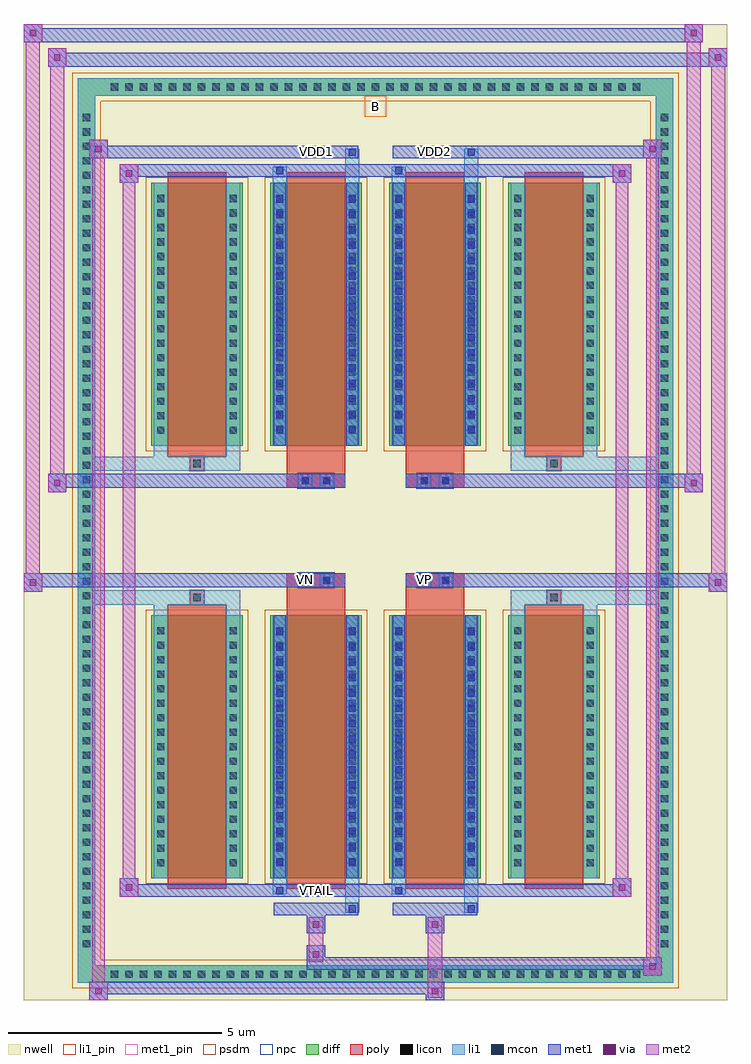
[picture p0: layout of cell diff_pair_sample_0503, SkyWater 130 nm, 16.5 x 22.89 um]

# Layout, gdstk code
import gdstk
lib = gdstk.Library(unit=1e-6, precision=5e-09)
def R(c, l, rs):  # rectangles x0, y0, x1, y1
    for r in rs: c.add(gdstk.rectangle(r[:2], r[2:], *l))
def A(c, l, x, y, w, h, nx, ny, dx, dy):  # array of equal rectangles
    R(c, l, [(x+i*dx, y+j*dy, x+i*dx+w, y+j*dy+h) for i in range(nx) for j in range(ny)])
def P(c, l, *ps):  # polygons
    for p in ps: c.add(gdstk.Polygon(p, *l))
nwell = (64, 20)
diff = (65, 20)
poly = (66, 20)
licon = (66, 44)
li1_pin = (67, 16)
li1 = (67, 20)
mcon = (67, 44)
met1_pin = (68, 16)
met1 = (68, 20)
via = (68, 44)
met2 = (69, 20)
psdm = (94, 20)
npc = (95, 20)

diff_pair_sample_0503 = lib.new_cell('diff_pair_sample_0503')
R(diff_pair_sample_0503, nwell, [(-8.25,-11.01,8.25,11.88), (-5.57,-9.2,-0.01,-0.8), (0.01,-9.2,5.57,-0.8), (-5.57,0.8,-0.01,9.2), (0.01,0.8,5.57,9.2)])
A(diff_pair_sample_0503, diff, -6.325, -10.61, 0.41, 0.41, 37, 2, 0.34, 20.81)
A(diff_pair_sample_0503, diff, -6.98, -9.895, 0.41, 0.41, 1, 58, 0, 0.34)
A(diff_pair_sample_0503, diff, 6.57, -9.895, 0.41, 0.41, 1, 58, 0, 0.34)
A(diff_pair_sample_0503, diff, -5.26, -8.155, 2.15, 6.17, 4, 2, 2.79, 10.14)
R(diff_pair_sample_0503, diff, [(-6.325,-10.61,6.325,-10.2), (-6.98,-9.895,-6.57,9.895), (6.57,-9.895,6.98,9.895), (-6.325,10.2,6.325,10.61)])
P(diff_pair_sample_0503, diff, [(6.98,10.61),(-6.98,10.61),(-6.98,-10.2),(-6.57,-10.2),(-6.57,10.2),(6.57,10.2),(6.57,-10.2),(-6.57,-10.2),(-6.98,-10.2),(-6.98,-10.61),(6.98,-10.61)])
A(diff_pair_sample_0503, poly, -4.87, -8.405, 1.37, 6.67, 4, 2, 2.79, 10.14)
R(diff_pair_sample_0503, poly, [(-4.35,-1.735,-4.02,-1.405), (-4.35,-1.735,-4.02,-1.405), (-2.08,-1.735,-0.71,-1.33), (0.71,-1.735,2.08,-1.33), (4.02,-1.735,4.35,-1.405), (4.02,-1.735,4.35,-1.405), (-2.08,-1.33,-0.71,-1), (-1.81,-1.33,-1.48,-1), (-1.31,-1.33,-0.98,-1), (0.71,-1.33,2.08,-1), (0.98,-1.33,1.31,-1), (1.48,-1.33,1.81,-1), (-2.08,1,-0.71,1.33), (-1.81,1,-1.48,1.33), (-1.31,1,-0.98,1.33), (0.71,1,2.08,1.33), (0.98,1,1.31,1.33), (1.48,1,1.81,1.33), (-2.08,1.33,-0.71,1.735), (0.71,1.33,2.08,1.735), (-4.35,1.405,-4.02,1.735), (-4.35,1.405,-4.02,1.735), (4.02,1.405,4.35,1.735), (4.02,1.405,4.35,1.735)])
A(diff_pair_sample_0503, licon, -6.205, -10.49, 0.17, 0.17, 37, 2, 0.34, 20.81)
A(diff_pair_sample_0503, licon, -6.86, -9.775, 0.17, 0.17, 1, 58, 0, 0.34)
A(diff_pair_sample_0503, licon, 6.69, -9.775, 0.17, 0.17, 1, 58, 0, 0.34)
A(diff_pair_sample_0503, licon, -5.12, -7.875, 0.17, 0.17, 1, 17, 0, 0.34)
A(diff_pair_sample_0503, licon, -3.42, -7.875, 0.17, 0.17, 1, 17, 0, 0.34)
A(diff_pair_sample_0503, licon, -2.33, -7.875, 0.17, 0.17, 1, 17, 0, 0.34)
A(diff_pair_sample_0503, licon, -0.63, -7.875, 0.17, 0.17, 1, 17, 0, 0.34)
A(diff_pair_sample_0503, licon, 0.46, -7.875, 0.17, 0.17, 1, 17, 0, 0.34)
A(diff_pair_sample_0503, licon, 2.16, -7.875, 0.17, 0.17, 1, 17, 0, 0.34)
A(diff_pair_sample_0503, licon, 3.25, -7.875, 0.17, 0.17, 1, 17, 0, 0.34)
A(diff_pair_sample_0503, licon, 4.95, -7.875, 0.17, 0.17, 1, 17, 0, 0.34)
A(diff_pair_sample_0503, licon, -5.12, 2.265, 0.17, 0.17, 1, 17, 0, 0.34)
A(diff_pair_sample_0503, licon, -3.42, 2.265, 0.17, 0.17, 1, 17, 0, 0.34)
A(diff_pair_sample_0503, licon, -2.33, 2.265, 0.17, 0.17, 1, 17, 0, 0.34)
A(diff_pair_sample_0503, licon, -0.63, 2.265, 0.17, 0.17, 1, 17, 0, 0.34)
A(diff_pair_sample_0503, licon, 0.46, 2.265, 0.17, 0.17, 1, 17, 0, 0.34)
A(diff_pair_sample_0503, licon, 2.16, 2.265, 0.17, 0.17, 1, 17, 0, 0.34)
A(diff_pair_sample_0503, licon, 3.25, 2.265, 0.17, 0.17, 1, 17, 0, 0.34)
A(diff_pair_sample_0503, licon, 4.95, 2.265, 0.17, 0.17, 1, 17, 0, 0.34)
R(diff_pair_sample_0503, licon, [(-4.27,-1.655,-4.1,-1.485), (4.1,-1.655,4.27,-1.485), (-1.73,-1.25,-1.56,-1.08), (-1.23,-1.25,-1.06,-1.08), (1.06,-1.25,1.23,-1.08), (1.56,-1.25,1.73,-1.08), (-1.73,1.08,-1.56,1.25), (-1.23,1.08,-1.06,1.25), (1.06,1.08,1.23,1.25), (1.56,1.08,1.73,1.25), (-4.27,1.485,-4.1,1.655), (4.1,1.485,4.27,1.655)])
R(diff_pair_sample_0503, li1_pin, [(-0.25,9.7,0.25,10.2)])
A(diff_pair_sample_0503, li1, -6.285, -10.57, 0.33, 0.33, 37, 2, 0.34, 20.81)
A(diff_pair_sample_0503, li1, -6.94, -9.855, 0.33, 0.33, 1, 58, 0, 0.34)
A(diff_pair_sample_0503, li1, 6.61, -9.855, 0.33, 0.33, 1, 58, 0, 0.34)
A(diff_pair_sample_0503, li1, -5.2, -7.955, 0.33, 0.33, 1, 17, 0, 0.34)
A(diff_pair_sample_0503, li1, -3.5, -7.955, 0.33, 0.33, 1, 17, 0, 0.34)
A(diff_pair_sample_0503, li1, -2.41, -7.955, 0.33, 0.33, 1, 17, 0, 0.34)
A(diff_pair_sample_0503, li1, -0.71, -7.955, 0.33, 0.33, 1, 17, 0, 0.34)
A(diff_pair_sample_0503, li1, 0.38, -7.955, 0.33, 0.33, 1, 17, 0, 0.34)
A(diff_pair_sample_0503, li1, 2.08, -7.955, 0.33, 0.33, 1, 17, 0, 0.34)
A(diff_pair_sample_0503, li1, 3.17, -7.955, 0.33, 0.33, 1, 17, 0, 0.34)
A(diff_pair_sample_0503, li1, 4.87, -7.955, 0.33, 0.33, 1, 17, 0, 0.34)
A(diff_pair_sample_0503, li1, -2.33, -7.855, 0.17, 0.17, 1, 16, 0, 0.36)
A(diff_pair_sample_0503, li1, -0.63, -7.855, 0.17, 0.17, 1, 16, 0, 0.36)
A(diff_pair_sample_0503, li1, 0.46, -7.855, 0.17, 0.17, 1, 16, 0, 0.36)
A(diff_pair_sample_0503, li1, 2.16, -7.855, 0.17, 0.17, 1, 16, 0, 0.36)
A(diff_pair_sample_0503, li1, -5.2, 2.185, 0.33, 0.33, 1, 17, 0, 0.34)
A(diff_pair_sample_0503, li1, -3.5, 2.185, 0.33, 0.33, 1, 17, 0, 0.34)
A(diff_pair_sample_0503, li1, -2.41, 2.185, 0.33, 0.33, 1, 17, 0, 0.34)
A(diff_pair_sample_0503, li1, -0.71, 2.185, 0.33, 0.33, 1, 17, 0, 0.34)
A(diff_pair_sample_0503, li1, 0.38, 2.185, 0.33, 0.33, 1, 17, 0, 0.34)
A(diff_pair_sample_0503, li1, 2.08, 2.185, 0.33, 0.33, 1, 17, 0, 0.34)
A(diff_pair_sample_0503, li1, 3.17, 2.185, 0.33, 0.33, 1, 17, 0, 0.34)
A(diff_pair_sample_0503, li1, 4.87, 2.185, 0.33, 0.33, 1, 17, 0, 0.34)
A(diff_pair_sample_0503, li1, -2.33, 2.285, 0.17, 0.17, 1, 16, 0, 0.36)
A(diff_pair_sample_0503, li1, -0.63, 2.285, 0.17, 0.17, 1, 16, 0, 0.36)
A(diff_pair_sample_0503, li1, 0.46, 2.285, 0.17, 0.17, 1, 16, 0, 0.36)
A(diff_pair_sample_0503, li1, 2.16, 2.285, 0.17, 0.17, 1, 16, 0, 0.36)
R(diff_pair_sample_0503, li1, [(-6.98,-10.61,-6.57,-10.2), (-6.98,-10.61,-6.57,-10.2), (-6.57,-10.61,6.57,-10.2), (6.57,-10.61,6.98,-10.2), (6.57,-10.61,6.98,-10.2), (-6.98,-10.2,-6.57,10.2), (6.57,-10.2,6.98,10.2), (-0.71,-8.96,-0.38,-8.155), (-0.63,-8.96,-0.46,-8.79), (2.08,-8.96,2.41,-8.155), (2.16,-8.96,2.33,-8.79), (-2.41,-8.53,-2.08,-8.155), (-2.33,-8.53,-2.16,-8.36), (0.38,-8.53,0.71,-8.155), (0.46,-8.53,0.63,-8.36), (-5.2,-8.155,-4.87,-1.985), (-3.5,-8.155,-3.17,-1.985), (-2.41,-8.155,-2.08,-1.985), (-0.71,-8.155,-0.38,-1.985), (0.38,-8.155,0.71,-1.985), (2.08,-8.155,2.41,-1.985), (3.17,-8.155,3.5,-1.985), (4.87,-8.155,5.2,-1.985), (-2.33,-7.855,-2.16,-2.285), (-0.63,-7.855,-0.46,-2.285), (0.46,-7.855,0.63,-2.285), (2.16,-7.855,2.33,-2.285), (-5.2,-1.985,-4.87,-1.405), (-3.5,-1.985,-3.17,-1.405), (3.17,-1.985,3.5,-1.405), (4.87,-1.985,5.2,-1.405), (-6.98,-1.735,-4.35,-1.405), (-5.2,-1.735,-4.35,-1.405), (-4.35,-1.735,-4.02,-1.405), (-4.02,-1.735,-3.17,-1.405), (3.17,-1.735,4.02,-1.405), (4.02,-1.735,4.35,-1.405), (4.02,-1.735,6.98,-1.405), (4.35,-1.735,5.2,-1.405), (-1.81,-1.33,-1.48,-1), (-1.31,-1.33,-0.98,-1), (0.98,-1.33,1.31,-1), (1.48,-1.33,1.81,-1), (-1.81,1,-1.48,1.33), (-1.31,1,-0.98,1.33), (0.98,1,1.31,1.33), (1.48,1,1.81,1.33), (-6.98,1.405,-4.35,1.735), (-5.2,1.405,-4.35,1.735), (-5.2,1.405,-4.87,1.985), (-4.35,1.405,-4.02,1.735), (-4.02,1.405,-3.17,1.735), (-3.5,1.405,-3.17,1.985), (3.17,1.405,4.02,1.735), (3.17,1.405,3.5,1.985), (4.02,1.405,4.35,1.735), (4.02,1.405,6.98,1.735), (4.35,1.405,5.2,1.735), (4.87,1.405,5.2,1.985), (-5.2,1.985,-4.87,8.155), (-3.5,1.985,-3.17,8.155), (-2.41,1.985,-2.08,8.155), (-0.71,1.985,-0.38,8.155), (0.38,1.985,0.71,8.155), (2.08,1.985,2.41,8.155), (3.17,1.985,3.5,8.155), (4.87,1.985,5.2,8.155), (-2.33,2.285,-2.16,7.855), (-0.63,2.285,-0.46,7.855), (0.46,2.285,0.63,7.855), (2.16,2.285,2.33,7.855), (-2.41,8.155,-2.08,8.53), (-0.71,8.155,-0.38,8.96), (0.38,8.155,0.71,8.53), (2.08,8.155,2.41,8.96), (-2.33,8.36,-2.16,8.53), (0.46,8.36,0.63,8.53), (-0.63,8.79,-0.46,8.96), (2.16,8.79,2.33,8.96), (-6.98,10.2,-6.57,10.61), (-6.98,10.2,-6.57,10.61), (-6.57,10.2,6.57,10.61), (6.57,10.2,6.98,10.61), (6.57,10.2,6.98,10.61)])
A(diff_pair_sample_0503, mcon, -2.33, -7.855, 0.17, 0.17, 1, 16, 0, 0.36)
A(diff_pair_sample_0503, mcon, -0.63, -7.855, 0.17, 0.17, 1, 16, 0, 0.36)
A(diff_pair_sample_0503, mcon, 0.46, -7.855, 0.17, 0.17, 1, 16, 0, 0.36)
A(diff_pair_sample_0503, mcon, 2.16, -7.855, 0.17, 0.17, 1, 16, 0, 0.36)
A(diff_pair_sample_0503, mcon, -2.33, 2.285, 0.17, 0.17, 1, 16, 0, 0.36)
A(diff_pair_sample_0503, mcon, -0.63, 2.285, 0.17, 0.17, 1, 16, 0, 0.36)
A(diff_pair_sample_0503, mcon, 0.46, 2.285, 0.17, 0.17, 1, 16, 0, 0.36)
A(diff_pair_sample_0503, mcon, 2.16, 2.285, 0.17, 0.17, 1, 16, 0, 0.36)
R(diff_pair_sample_0503, mcon, [(-0.63,-8.96,-0.46,-8.79), (2.16,-8.96,2.33,-8.79), (-2.33,-8.53,-2.16,-8.36), (0.46,-8.53,0.63,-8.36), (-1.73,-1.25,-1.56,-1.08), (-1.23,-1.25,-1.06,-1.08), (1.06,-1.25,1.23,-1.08), (1.56,-1.25,1.73,-1.08), (-1.73,1.08,-1.56,1.25), (-1.23,1.08,-1.06,1.25), (1.06,1.08,1.23,1.25), (1.56,1.08,1.73,1.25), (-2.33,8.36,-2.16,8.53), (0.46,8.36,0.63,8.53), (-0.63,8.79,-0.46,8.96), (2.16,8.79,2.33,8.96)])
R(diff_pair_sample_0503, met1_pin, [(-1.53,-8.57,-1.26,-8.3), (-1.78,-1.29,-1.51,-1.02), (1.01,-1.29,1.28,-1.02), (-1.53,8.75,-1.26,9.02), (1.26,8.75,1.53,9.02)])
A(diff_pair_sample_0503, met1, -2.39, -7.915, 0.29, 0.29, 1, 16, 0, 0.36)
A(diff_pair_sample_0503, met1, -0.69, -7.915, 0.29, 0.29, 1, 16, 0, 0.36)
A(diff_pair_sample_0503, met1, 0.4, -7.915, 0.29, 0.29, 1, 16, 0, 0.36)
A(diff_pair_sample_0503, met1, 2.1, -7.915, 0.29, 0.29, 1, 16, 0, 0.36)
A(diff_pair_sample_0503, met1, -2.39, 2.225, 0.29, 0.29, 1, 16, 0, 0.36)
A(diff_pair_sample_0503, met1, -0.69, 2.225, 0.29, 0.29, 1, 16, 0, 0.36)
A(diff_pair_sample_0503, met1, 0.4, 2.225, 0.29, 0.29, 1, 16, 0, 0.36)
A(diff_pair_sample_0503, met1, 2.1, 2.225, 0.29, 0.29, 1, 16, 0, 0.36)
R(diff_pair_sample_0503, met1, [(-6.71,-11.01,-6.28,-10.58), (1.18,-11.01,1.61,-10.58), (-6.71,-10.87,1.61,-10.58), (6.28,-10.44,6.71,-10.01), (-1.61,-10.3,6.71,-10.01), (-1.61,-10.16,-1.18,-9.73), (-1.61,-9.45,-1.18,-9.02), (1.18,-9.45,1.61,-9.02), (-2.39,-9.02,-0.4,-8.73), (-0.69,-9.02,-0.4,-8.73), (0.4,-9.02,2.39,-8.73), (2.1,-9.02,2.39,-8.73), (-6,-8.59,-5.57,-8.16), (-6,-8.59,-2.39,-8.3), (-2.39,-8.59,-2.1,-8.3), (-2.39,-8.59,-0.4,-8.3), (-0.4,-8.59,0.4,-8.3), (0.4,-8.59,0.69,-8.3), (0.4,-8.59,2.39,-8.3), (2.39,-8.59,6,-8.3), (5.57,-8.59,6,-8.16), (-2.39,-8.155,-2.1,-1.985), (-0.69,-8.155,-0.4,-1.985), (0.4,-8.155,0.69,-1.985), (2.1,-8.155,2.39,-1.985), (-8.25,-1.43,-7.82,-1), (7.82,-1.43,8.25,-1), (-8.25,-1.33,-0.71,-1), (-2.08,-1.33,-0.71,-1), (0.71,-1.33,2.08,-1), (0.71,-1.33,8.25,-1), (-1.79,-1.31,-1.5,-1.02), (-1.29,-1.31,-1,-1.02), (1,-1.31,1.29,-1.02), (1.5,-1.31,1.79,-1.02), (-7.68,0.9,-7.25,1.33), (7.25,0.9,7.68,1.33), (-7.68,1,-2.08,1.33), (-2.08,1,-0.71,1.33), (0.71,1,2.08,1.33), (2.08,1,7.68,1.33), (-1.79,1.02,-1.5,1.31), (-1.29,1.02,-1,1.31), (1,1.02,1.29,1.31), (1.5,1.02,1.79,1.31), (-2.39,1.985,-2.1,8.155), (-0.69,1.985,-0.4,8.155), (0.4,1.985,0.69,8.155), (2.1,1.985,2.39,8.155), (-6,8.16,-5.57,8.59), (5.57,8.16,6,8.59), (-6,8.3,-2.39,8.59), (-2.39,8.3,-2.1,8.59), (-2.39,8.3,-0.4,8.59), (-0.4,8.3,0.4,8.59), (0.4,8.3,0.69,8.59), (0.4,8.3,2.39,8.59), (2.39,8.3,6,8.59), (-6.71,8.73,-6.28,9.16), (-6.71,8.73,-2.39,9.02), (-2.39,8.73,-0.4,9.02), (-0.69,8.73,-0.4,9.02), (0.4,8.73,2.39,9.02), (2.1,8.73,2.39,9.02), (2.39,8.73,6.71,9.02), (6.28,8.73,6.71,9.16), (-7.68,10.88,-7.25,11.31), (-7.68,10.88,-5.57,11.21), (-5.57,10.88,5.57,11.21), (5.57,10.88,8.25,11.21), (7.82,10.88,8.25,11.31), (-8.25,11.45,-7.82,11.88), (-8.25,11.45,-5.57,11.78), (-5.57,11.45,5.57,11.78), (5.57,11.45,7.68,11.78), (7.25,11.45,7.68,11.88)])
R(diff_pair_sample_0503, via, [(-6.57,-10.87,-6.42,-10.72), (1.32,-10.87,1.47,-10.72), (6.42,-10.3,6.57,-10.15), (-1.47,-10.02,-1.32,-9.87), (-1.47,-9.31,-1.32,-9.16), (1.32,-9.31,1.47,-9.16), (-5.86,-8.45,-5.71,-8.3), (5.71,-8.45,5.86,-8.3), (-8.11,-1.29,-7.96,-1.14), (7.96,-1.29,8.11,-1.14), (-7.54,1.04,-7.39,1.19), (7.39,1.04,7.54,1.19), (-5.86,8.3,-5.71,8.45), (5.71,8.3,5.86,8.45), (-6.57,8.87,-6.42,9.02), (6.42,8.87,6.57,9.02), (-7.54,11.02,-7.39,11.17), (7.96,11.02,8.11,11.17), (-8.11,11.59,-7.96,11.74), (7.39,11.59,7.54,11.74)])
R(diff_pair_sample_0503, met2, [(-6.71,-11.01,-6.28,-10.58), (-6.64,-11.01,-6.35,9.16), (-6.35,-11.01,-6.28,-10.58), (-6.66,-10.96,-6.33,-10.63), (1.23,-10.96,1.56,-10.63), (1.23,-10.63,1.56,-9.4), (6.28,-10.44,6.71,-10.01), (6.35,-10.44,6.64,9.16), (6.64,-10.44,6.71,-10.01), (6.33,-10.39,6.66,-10.06), (-1.56,-10.11,-1.23,-9.78), (-1.56,-9.78,-1.23,-9.4), (-1.56,-9.4,-1.23,-9.07), (1.23,-9.4,1.56,-9.07), (-6,-8.59,-5.57,-8.16), (-5.93,-8.59,-5.64,8.59), (-5.64,-8.59,-5.57,-8.16), (5.57,-8.59,6,-8.16), (5.64,-8.59,5.93,8.59), (5.93,-8.59,6,-8.16), (-5.95,-8.54,-5.62,-8.21), (5.62,-8.54,5.95,-8.21), (-8.25,-1.43,-7.82,-1), (-8.2,-1.43,-7.87,11.88), (-7.87,-1.43,-7.82,-1), (7.82,-1.43,8.25,-1), (7.87,-1.43,8.2,11.31), (8.2,-1.43,8.25,-1), (-8.2,-1.38,-7.87,-1.05), (7.87,-1.38,8.2,-1.05), (-7.68,0.9,-7.25,1.33), (-7.63,0.9,-7.3,11.31), (-7.3,0.9,-7.25,1.33), (7.25,0.9,7.68,1.33), (7.3,0.9,7.63,11.88), (7.63,0.9,7.68,1.33), (-7.63,0.95,-7.3,1.28), (7.3,0.95,7.63,1.28), (-6,8.16,-5.57,8.59), (-5.64,8.16,-5.57,8.59), (5.57,8.16,6,8.59), (5.93,8.16,6,8.59), (-5.95,8.21,-5.62,8.54), (5.62,8.21,5.95,8.54), (-6.71,8.73,-6.28,9.16), (-6.35,8.73,-6.28,9.16), (6.28,8.73,6.71,9.16), (6.64,8.73,6.71,9.16), (-6.66,8.78,-6.33,9.11), (6.33,8.78,6.66,9.11), (-7.68,10.88,-7.25,11.31), (-7.3,10.88,-7.25,11.31), (7.82,10.88,8.25,11.31), (8.2,10.88,8.25,11.31), (-7.63,10.93,-7.3,11.26), (7.87,10.93,8.2,11.26), (-8.25,11.45,-7.82,11.88), (-7.87,11.45,-7.82,11.88), (7.25,11.45,7.68,11.88), (7.63,11.45,7.68,11.88), (-8.2,11.5,-7.87,11.83), (7.3,11.5,7.63,11.83)])
A(diff_pair_sample_0503, psdm, -5.39, -8.285, 2.41, 6.43, 4, 2, 2.79, 10.14)
P(diff_pair_sample_0503, psdm, [(7.11,10.74),(-7.11,10.74),(-7.11,-10.07),(-6.44,-10.07),(-6.44,10.07),(6.44,10.07),(6.44,-10.07),(-6.44,-10.07),(-7.11,-10.07),(-7.11,-10.74),(7.11,-10.74)])
R(diff_pair_sample_0503, npc, [(-4.37,-1.755,-4,-1.385), (4,-1.755,4.37,-1.385), (-1.83,-1.35,-1.46,-0.98), (-1.83,-1.35,-0.96,-0.98), (-1.83,-1.35,-0.96,-0.98), (-1.33,-1.35,-0.96,-0.98), (0.96,-1.35,1.33,-0.98), (0.96,-1.35,1.83,-0.98), (0.96,-1.35,1.83,-0.98), (1.46,-1.35,1.83,-0.98), (-1.83,0.98,-1.46,1.35), (-1.83,0.98,-0.96,1.35), (-1.83,0.98,-0.96,1.35), (-1.33,0.98,-0.96,1.35), (0.96,0.98,1.33,1.35), (0.96,0.98,1.83,1.35), (0.96,0.98,1.83,1.35), (1.46,0.98,1.83,1.35), (-4.37,1.385,-4,1.755), (4,1.385,4.37,1.755)])
diff_pair_sample_0503.add(gdstk.Label('VTAIL', (-1.395,-8.435), layer=68, texttype=5))
diff_pair_sample_0503.add(gdstk.Label('VN', (-1.645,-1.155), layer=68, texttype=5))
diff_pair_sample_0503.add(gdstk.Label('VP', (1.145,-1.155), layer=68, texttype=5))
diff_pair_sample_0503.add(gdstk.Label('B', (0,9.95), layer=67, texttype=5))
diff_pair_sample_0503.add(gdstk.Label('VDD2', (1.395,8.885), layer=68, texttype=5))
diff_pair_sample_0503.add(gdstk.Label('VDD1', (-1.395,8.885), layer=68, texttype=5))

lib.write_gds('diff_pair_sample_0503.gds')
